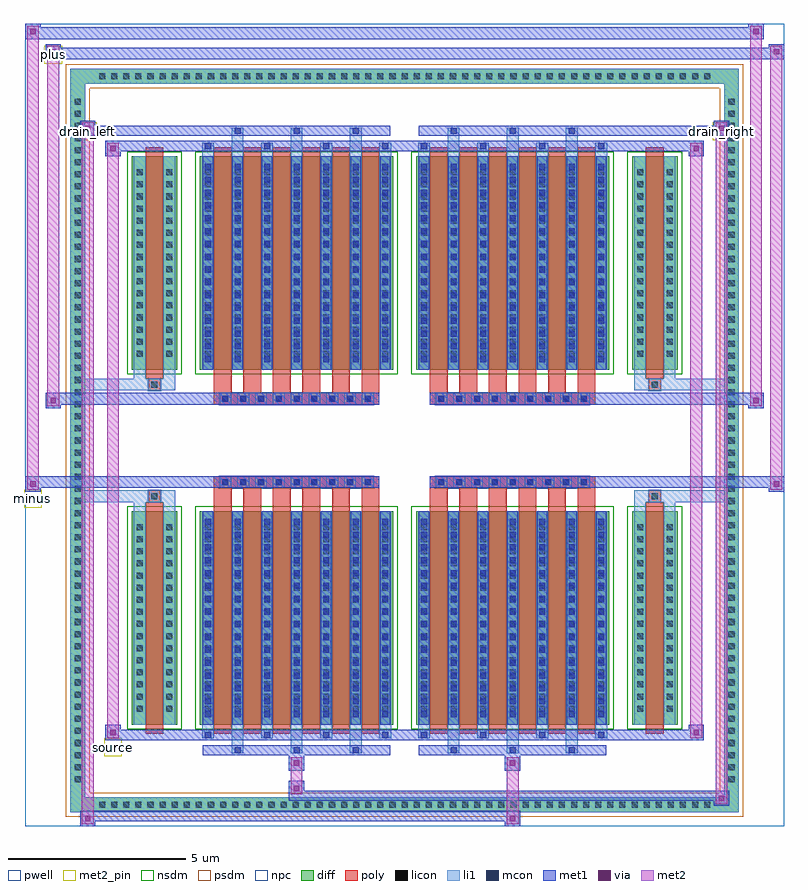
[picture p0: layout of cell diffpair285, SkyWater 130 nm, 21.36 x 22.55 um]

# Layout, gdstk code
import gdstk
lib = gdstk.Library(unit=1e-6, precision=5e-09)
def R(c, l, rs):  # rectangles x0, y0, x1, y1
    for r in rs: c.add(gdstk.rectangle(r[:2], r[2:], *l))
def A(c, l, x, y, w, h, nx, ny, dx, dy):  # array of equal rectangles
    R(c, l, [(x+i*dx, y+j*dy, x+i*dx+w, y+j*dy+h) for i in range(nx) for j in range(ny)])
def P(c, l, *ps):  # polygons
    for p in ps: c.add(gdstk.Polygon(p, *l))
pwell = (64, 44)
diff = (65, 20)
poly = (66, 20)
licon = (66, 44)
li1 = (67, 20)
mcon = (67, 44)
met1 = (68, 20)
via = (68, 44)
met2_pin = (69, 16)
met2 = (69, 20)
nsdm = (93, 44)
psdm = (94, 20)
npc = (95, 20)

diffpair285 = lib.new_cell('diffpair285')
R(diffpair285, pwell, [(-10.66,-10.84,10.66,11.71), (-7.98,-9.03,-0.01,-0.805), (0.01,-9.03,7.98,-0.805), (-7.98,0.805,-0.01,9.03), (0.01,0.805,7.98,9.03)])
A(diffpair285, diff, -8.705, -10.44, 0.41, 0.41, 51, 2, 0.34, 20.47)
A(diffpair285, diff, -9.39, -9.725, 0.41, 0.41, 1, 57, 0, 0.34)
A(diffpair285, diff, 8.98, -9.725, 0.41, 0.41, 1, 57, 0, 0.34)
R(diffpair285, diff, [(-8.705,-10.44,8.705,-10.03), (-9.39,-9.725,-8.98,9.725), (8.98,-9.725,9.39,9.725), (-7.67,-7.985,-6.39,-1.985), (-5.75,-7.985,-0.32,-1.985), (0.32,-7.985,5.75,-1.985), (6.39,-7.985,7.67,-1.985), (-7.67,1.985,-6.39,7.985), (-5.75,1.985,-0.32,7.985), (0.32,1.985,5.75,7.985), (6.39,1.985,7.67,7.985), (-8.705,10.03,8.705,10.44)])
P(diffpair285, diff, [(9.39,10.44),(-9.39,10.44),(-9.39,-10.03),(-8.98,-10.03),(-8.98,10.03),(8.98,10.03),(8.98,-10.03),(-8.98,-10.03),(-9.39,-10.03),(-9.39,-10.44),(9.39,-10.44)])
A(diffpair285, poly, -5.36, -8.235, 0.5, 6.5, 6, 2, 0.83, 9.97)
A(diffpair285, poly, 0.71, -8.235, 0.5, 6.5, 6, 2, 0.83, 9.97)
A(diffpair285, poly, -5.36, -1.735, 0.5, 0.4, 6, 2, 0.83, 3.07)
A(diffpair285, poly, 0.71, -1.735, 0.5, 0.4, 6, 2, 0.83, 3.07)
A(diffpair285, poly, -5.2, -1.335, 0.33, 0.33, 9, 2, 0.5, 2.34)
A(diffpair285, poly, 0.87, -1.335, 0.33, 0.33, 9, 2, 0.5, 2.34)
R(diffpair285, poly, [(-7.28,-8.235,-6.78,-1.735), (6.78,-8.235,7.28,-1.735), (-7.195,-1.735,-6.865,-1.405), (-7.195,-1.735,-6.865,-1.405), (6.865,-1.735,7.195,-1.405), (6.865,-1.735,7.195,-1.405), (-5.36,-1.335,-0.71,-1.005), (0.71,-1.335,5.36,-1.005), (-5.36,1.005,-0.71,1.335), (0.71,1.005,5.36,1.335), (-7.195,1.405,-6.865,1.735), (-7.195,1.405,-6.865,1.735), (6.865,1.405,7.195,1.735), (6.865,1.405,7.195,1.735), (-7.28,1.735,-6.78,8.235), (6.78,1.735,7.28,8.235)])
A(diffpair285, licon, -8.585, -10.32, 0.17, 0.17, 51, 2, 0.34, 20.47)
A(diffpair285, licon, -9.27, -9.605, 0.17, 0.17, 1, 57, 0, 0.34)
A(diffpair285, licon, 9.1, -9.605, 0.17, 0.17, 1, 57, 0, 0.34)
A(diffpair285, licon, -7.53, -7.62, 0.17, 0.17, 1, 16, 0, 0.34)
A(diffpair285, licon, -6.7, -7.62, 0.17, 0.17, 1, 16, 0, 0.34)
A(diffpair285, licon, -5.61, -7.62, 0.17, 0.17, 7, 16, 0.83, 0.34)
A(diffpair285, licon, 0.46, -7.62, 0.17, 0.17, 7, 16, 0.83, 0.34)
A(diffpair285, licon, 6.53, -7.62, 0.17, 0.17, 1, 16, 0, 0.34)
A(diffpair285, licon, 7.36, -7.62, 0.17, 0.17, 1, 16, 0, 0.34)
A(diffpair285, licon, -5.12, -1.255, 0.17, 0.17, 9, 2, 0.5, 2.34)
A(diffpair285, licon, 0.95, -1.255, 0.17, 0.17, 9, 2, 0.5, 2.34)
A(diffpair285, licon, -7.53, 2.35, 0.17, 0.17, 1, 16, 0, 0.34)
A(diffpair285, licon, -6.7, 2.35, 0.17, 0.17, 1, 16, 0, 0.34)
A(diffpair285, licon, -5.61, 2.35, 0.17, 0.17, 7, 16, 0.83, 0.34)
A(diffpair285, licon, 0.46, 2.35, 0.17, 0.17, 7, 16, 0.83, 0.34)
A(diffpair285, licon, 6.53, 2.35, 0.17, 0.17, 1, 16, 0, 0.34)
A(diffpair285, licon, 7.36, 2.35, 0.17, 0.17, 1, 16, 0, 0.34)
R(diffpair285, licon, [(-7.115,-1.655,-6.945,-1.485), (6.945,-1.655,7.115,-1.485), (-7.115,1.485,-6.945,1.655), (6.945,1.485,7.115,1.655)])
A(diffpair285, li1, -8.665, -10.4, 0.33, 0.33, 51, 2, 0.34, 20.47)
A(diffpair285, li1, -9.35, -9.685, 0.33, 0.33, 1, 57, 0, 0.34)
A(diffpair285, li1, 9.02, -9.685, 0.33, 0.33, 1, 57, 0, 0.34)
A(diffpair285, li1, -4.86, -8.79, 0.33, 0.805, 3, 2, 1.66, 16.775)
A(diffpair285, li1, -4.78, -8.79, 0.17, 0.17, 3, 2, 1.66, 17.41)
A(diffpair285, li1, 1.21, -8.79, 0.33, 0.805, 3, 2, 1.66, 16.775)
A(diffpair285, li1, 1.29, -8.79, 0.17, 0.17, 3, 2, 1.66, 17.41)
A(diffpair285, li1, -5.69, -8.36, 0.33, 0.375, 4, 2, 1.66, 16.345)
A(diffpair285, li1, -5.61, -8.36, 0.17, 0.17, 4, 2, 1.66, 16.55)
A(diffpair285, li1, 0.38, -8.36, 0.33, 0.375, 4, 2, 1.66, 16.345)
A(diffpair285, li1, 0.46, -8.36, 0.17, 0.17, 4, 2, 1.66, 16.55)
A(diffpair285, li1, -5.69, -7.985, 0.33, 6, 7, 2, 0.83, 9.97)
A(diffpair285, li1, 0.38, -7.985, 0.33, 6, 7, 2, 0.83, 9.97)
A(diffpair285, li1, -5.61, -7.77, 0.17, 0.17, 7, 16, 0.83, 0.36)
A(diffpair285, li1, -5.61, -7.77, 0.17, 5.57, 7, 2, 0.83, 9.97)
A(diffpair285, li1, 0.46, -7.77, 0.17, 0.17, 7, 16, 0.83, 0.36)
A(diffpair285, li1, 0.46, -7.77, 0.17, 5.57, 7, 2, 0.83, 9.97)
A(diffpair285, li1, -7.61, -7.7, 0.33, 0.33, 1, 16, 0, 0.34)
A(diffpair285, li1, -6.78, -7.7, 0.33, 0.33, 1, 16, 0, 0.34)
A(diffpair285, li1, -5.69, -7.7, 0.33, 0.33, 7, 16, 0.83, 0.34)
A(diffpair285, li1, 0.38, -7.7, 0.33, 0.33, 7, 16, 0.83, 0.34)
A(diffpair285, li1, 6.45, -7.7, 0.33, 0.33, 1, 16, 0, 0.34)
A(diffpair285, li1, 7.28, -7.7, 0.33, 0.33, 1, 16, 0, 0.34)
A(diffpair285, li1, -5.2, -1.335, 0.33, 0.33, 9, 2, 0.5, 2.34)
A(diffpair285, li1, 0.87, -1.335, 0.33, 0.33, 9, 2, 0.5, 2.34)
A(diffpair285, li1, -5.61, 2.2, 0.17, 0.17, 7, 16, 0.83, 0.36)
A(diffpair285, li1, 0.46, 2.2, 0.17, 0.17, 7, 16, 0.83, 0.36)
A(diffpair285, li1, -7.61, 2.27, 0.33, 0.33, 1, 16, 0, 0.34)
A(diffpair285, li1, -6.78, 2.27, 0.33, 0.33, 1, 16, 0, 0.34)
A(diffpair285, li1, -5.69, 2.27, 0.33, 0.33, 7, 16, 0.83, 0.34)
A(diffpair285, li1, 0.38, 2.27, 0.33, 0.33, 7, 16, 0.83, 0.34)
A(diffpair285, li1, 6.45, 2.27, 0.33, 0.33, 1, 16, 0, 0.34)
A(diffpair285, li1, 7.28, 2.27, 0.33, 0.33, 1, 16, 0, 0.34)
R(diffpair285, li1, [(-9.39,-10.44,-8.98,-10.03), (-9.39,-10.44,-8.98,-10.03), (-8.98,-10.44,8.98,-10.03), (8.98,-10.44,9.39,-10.03), (8.98,-10.44,9.39,-10.03), (-9.39,-10.03,-8.98,10.03), (8.98,-10.03,9.39,10.03), (-7.61,-7.985,-7.28,-1.985), (-6.78,-7.985,-6.45,-1.985), (6.45,-7.985,6.78,-1.985), (7.28,-7.985,7.61,-1.985), (-7.61,-1.985,-7.28,-1.405), (-6.78,-1.985,-6.45,-1.405), (6.45,-1.985,6.78,-1.405), (7.28,-1.985,7.61,-1.405), (-9.39,-1.735,-7.195,-1.405), (-7.61,-1.735,-7.195,-1.405), (-7.195,-1.735,-6.865,-1.405), (-6.865,-1.735,-6.45,-1.405), (6.45,-1.735,6.865,-1.405), (6.865,-1.735,7.195,-1.405), (6.865,-1.735,9.39,-1.405), (7.195,-1.735,7.61,-1.405), (-9.39,1.405,-7.195,1.735), (-7.61,1.405,-7.195,1.735), (-7.61,1.405,-7.28,1.985), (-7.195,1.405,-6.865,1.735), (-6.865,1.405,-6.45,1.735), (-6.78,1.405,-6.45,1.985), (6.45,1.405,6.865,1.735), (6.45,1.405,6.78,1.985), (6.865,1.405,7.195,1.735), (6.865,1.405,9.39,1.735), (7.195,1.405,7.61,1.735), (7.28,1.405,7.61,1.985), (-7.61,1.985,-7.28,7.985), (-6.78,1.985,-6.45,7.985), (6.45,1.985,6.78,7.985), (7.28,1.985,7.61,7.985), (-9.39,10.03,-8.98,10.44), (-9.39,10.03,-8.98,10.44), (-8.98,10.03,8.98,10.44), (8.98,10.03,9.39,10.44), (8.98,10.03,9.39,10.44)])
A(diffpair285, mcon, -4.78, -8.79, 0.17, 0.17, 3, 2, 1.66, 17.41)
A(diffpair285, mcon, 1.29, -8.79, 0.17, 0.17, 3, 2, 1.66, 17.41)
A(diffpair285, mcon, -5.61, -8.36, 0.17, 0.17, 4, 2, 1.66, 16.55)
A(diffpair285, mcon, 0.46, -8.36, 0.17, 0.17, 4, 2, 1.66, 16.55)
A(diffpair285, mcon, -5.61, -7.77, 0.17, 0.17, 7, 16, 0.83, 0.36)
A(diffpair285, mcon, 0.46, -7.77, 0.17, 0.17, 7, 16, 0.83, 0.36)
A(diffpair285, mcon, -5.12, -1.255, 0.17, 0.17, 9, 2, 0.5, 2.34)
A(diffpair285, mcon, 0.95, -1.255, 0.17, 0.17, 9, 2, 0.5, 2.34)
A(diffpair285, mcon, -5.61, 2.2, 0.17, 0.17, 7, 16, 0.83, 0.36)
A(diffpair285, mcon, 0.46, 2.2, 0.17, 0.17, 7, 16, 0.83, 0.36)
A(diffpair285, met1, -4.84, -8.85, 0.29, 0.29, 3, 2, 1.66, 17.41)
A(diffpair285, met1, 1.23, -8.85, 0.29, 0.29, 3, 2, 1.66, 17.41)
A(diffpair285, met1, -5.67, -8.42, 0.29, 0.29, 4, 2, 1.66, 16.55)
A(diffpair285, met1, 0.4, -8.42, 0.29, 0.29, 4, 2, 1.66, 16.55)
A(diffpair285, met1, -5.67, -7.985, 0.29, 6, 7, 2, 0.83, 9.97)
A(diffpair285, met1, 0.4, -7.985, 0.29, 6, 7, 2, 0.83, 9.97)
A(diffpair285, met1, -5.67, -7.83, 0.29, 0.29, 7, 16, 0.83, 0.36)
A(diffpair285, met1, 0.4, -7.83, 0.29, 0.29, 7, 16, 0.83, 0.36)
A(diffpair285, met1, -5.18, -1.315, 0.29, 0.29, 9, 2, 0.5, 2.34)
A(diffpair285, met1, 0.89, -1.315, 0.29, 0.29, 9, 2, 0.5, 2.34)
A(diffpair285, met1, -5.67, 2.14, 0.29, 0.29, 7, 16, 0.83, 0.36)
A(diffpair285, met1, 0.4, 2.14, 0.29, 0.29, 7, 16, 0.83, 0.36)
R(diffpair285, met1, [(-9.12,-10.84,-8.69,-10.41), (2.82,-10.84,3.25,-10.41), (-9.12,-10.7,3.25,-10.41), (8.69,-10.27,9.12,-9.84), (-3.25,-10.13,9.12,-9.84), (-3.25,-9.99,-2.82,-9.56), (-3.25,-9.28,-2.82,-8.85), (2.82,-9.28,3.25,-8.85), (-5.67,-8.85,-0.4,-8.56), (0.4,-8.85,5.67,-8.56), (-8.41,-8.42,-7.98,-7.99), (-8.41,-8.42,-5.67,-8.13), (-5.67,-8.42,-0.4,-8.13), (-0.4,-8.42,0.4,-8.13), (0.4,-8.42,5.67,-8.13), (5.67,-8.42,8.41,-8.13), (7.98,-8.42,8.41,-7.99), (-10.66,-1.435,-10.23,-1.005), (10.23,-1.435,10.66,-1.005), (-10.66,-1.335,-0.71,-1.005), (-5.36,-1.335,-0.71,-1.005), (0.71,-1.335,5.36,-1.005), (0.71,-1.335,10.66,-1.005), (-10.09,0.905,-9.66,1.335), (9.66,0.905,10.09,1.335), (-10.09,1.005,-5.36,1.335), (-5.36,1.005,-0.71,1.335), (0.71,1.005,5.36,1.335), (5.36,1.005,10.09,1.335), (-8.41,7.99,-7.98,8.42), (7.98,7.99,8.41,8.42), (-8.41,8.13,-5.67,8.42), (-5.67,8.13,-0.4,8.42), (-0.4,8.13,0.4,8.42), (0.4,8.13,5.67,8.42), (5.67,8.13,8.41,8.42), (-9.12,8.56,-8.69,8.99), (-9.12,8.56,-5.67,8.85), (-5.67,8.56,-0.4,8.85), (0.4,8.56,5.67,8.85), (5.67,8.56,9.12,8.85), (8.69,8.56,9.12,8.99), (-10.09,10.71,-9.66,11.14), (-10.09,10.71,-7.98,11.04), (-7.98,10.71,7.98,11.04), (7.98,10.71,10.66,11.04), (10.23,10.71,10.66,11.14), (-10.66,11.28,-10.23,11.71), (-10.66,11.28,-7.98,11.61), (-7.98,11.28,7.98,11.61), (7.98,11.28,10.09,11.61), (9.66,11.28,10.09,11.71)])
R(diffpair285, via, [(-8.98,-10.7,-8.83,-10.55), (2.96,-10.7,3.11,-10.55), (8.83,-10.13,8.98,-9.98), (-3.11,-9.85,-2.96,-9.7), (-3.11,-9.14,-2.96,-8.99), (2.96,-9.14,3.11,-8.99), (-8.27,-8.28,-8.12,-8.13), (8.12,-8.28,8.27,-8.13), (-10.52,-1.295,-10.37,-1.145), (10.37,-1.295,10.52,-1.145), (-9.95,1.045,-9.8,1.195), (9.8,1.045,9.95,1.195), (-8.27,8.13,-8.12,8.28), (8.12,8.13,8.27,8.28), (-8.98,8.7,-8.83,8.85), (8.83,8.7,8.98,8.85), (-9.95,10.85,-9.8,11), (10.37,10.85,10.52,11), (-10.52,11.42,-10.37,11.57), (9.8,11.42,9.95,11.57)])
R(diffpair285, met2_pin, [(-8.445,-8.87,-7.945,-8.37), (-10.695,-1.885,-10.195,-1.385), (-9.155,8.44,-8.655,8.94), (8.655,8.44,9.155,8.94), (-10.125,10.59,-9.625,11.09)])
R(diffpair285, met2, [(-9.07,-10.79,-8.74,-10.46), (-9.07,-10.79,-8.74,8.94), (2.87,-10.79,3.2,-10.46), (2.87,-10.46,3.2,-9.23), (8.74,-10.22,9.07,-9.89), (8.74,-10.22,9.07,8.94), (-3.2,-9.94,-2.87,-9.61), (-3.2,-9.61,-2.87,-9.23), (-3.2,-9.23,-2.87,-8.9), (2.87,-9.23,3.2,-8.9), (-8.36,-8.37,-8.03,-8.04), (-8.36,-8.37,-8.03,8.37), (8.03,-8.37,8.36,-8.04), (8.03,-8.37,8.36,8.37), (-10.61,-1.385,-10.28,-1.055), (-10.61,-1.385,-10.28,11.66), (10.28,-1.385,10.61,-1.055), (10.28,-1.385,10.61,11.09), (-10.04,0.955,-9.71,1.285), (-10.04,0.955,-9.71,11.09), (9.71,0.955,10.04,1.285), (9.71,0.955,10.04,11.66), (-8.36,8.04,-8.03,8.37), (8.03,8.04,8.36,8.37), (-9.07,8.61,-8.74,8.94), (8.74,8.61,9.07,8.94), (-10.04,10.76,-9.71,11.09), (10.28,10.76,10.61,11.09), (-10.61,11.33,-10.28,11.66), (9.71,11.33,10.04,11.66)])
P(diffpair285, met2, [(10.61,-1.385),(10.61,-1.385),(10.61,-1.055),(10.61,-1.055)],
  [(10.61,10.76),(10.61,10.76),(10.61,11.09),(10.61,11.09)],
  [(-10.28,-1.385),(-10.28,-1.385),(-10.28,-1.055),(-10.28,-1.055)],
  [(-10.28,11.33),(-10.28,11.33),(-10.28,11.66),(-10.28,11.66)],
  [(10.04,0.955),(10.04,0.955),(10.04,1.285),(10.04,1.285)],
  [(10.04,11.33),(10.04,11.33),(10.04,11.66),(10.04,11.66)],
  [(-9.71,0.955),(-9.71,0.955),(-9.71,1.285),(-9.71,1.285)],
  [(-9.71,10.76),(-9.71,10.76),(-9.71,11.09),(-9.71,11.09)],
  [(-8.74,-10.79),(-8.74,-10.79),(-8.74,-10.46),(-8.74,-10.46)],
  [(-8.74,8.61),(-8.74,8.61),(-8.74,8.94),(-8.74,8.94)],
  [(9.07,-10.22),(9.07,-10.22),(9.07,-9.89),(9.07,-9.89)],
  [(9.07,8.61),(9.07,8.61),(9.07,8.94),(9.07,8.94)],
  [(-8.03,-8.37),(-8.03,-8.37),(-8.03,-8.04),(-8.03,-8.04)],
  [(-8.03,8.04),(-8.03,8.04),(-8.03,8.37),(-8.03,8.37)],
  [(8.36,-8.37),(8.36,-8.37),(8.36,-8.04),(8.36,-8.04)],
  [(8.36,8.04),(8.36,8.04),(8.36,8.37),(8.36,8.37)])
R(diffpair285, nsdm, [(-7.8,-8.115,-6.26,-1.855), (-5.88,-8.115,-0.19,-1.855), (0.19,-8.115,5.88,-1.855), (6.26,-8.115,7.8,-1.855), (-7.8,1.855,-6.26,8.115), (-5.88,1.855,-0.19,8.115), (0.19,1.855,5.88,8.115), (6.26,1.855,7.8,8.115)])
P(diffpair285, psdm, [(9.52,10.57),(-9.52,10.57),(-9.52,-9.9),(-8.85,-9.9),(-8.85,9.9),(8.85,9.9),(8.85,-9.9),(-8.85,-9.9),(-9.52,-9.9),(-9.52,-10.57),(9.52,-10.57)])
A(diffpair285, npc, -5.22, -1.355, 0.37, 0.37, 9, 2, 0.5, 2.34)
A(diffpair285, npc, 0.85, -1.355, 0.37, 0.37, 9, 2, 0.5, 2.34)
R(diffpair285, npc, [(-7.215,-1.755,-6.845,-1.385), (6.845,-1.755,7.215,-1.385), (-5.22,-1.355,-4.35,-0.985), (-5.22,-1.355,-4.35,-0.985), (-4.72,-1.355,-3.85,-0.985), (-4.72,-1.355,-3.85,-0.985), (-4.22,-1.355,-3.35,-0.985), (-4.22,-1.355,-3.35,-0.985), (-3.72,-1.355,-2.85,-0.985), (-3.72,-1.355,-2.85,-0.985), (-3.22,-1.355,-2.35,-0.985), (-3.22,-1.355,-2.35,-0.985), (-2.72,-1.355,-1.85,-0.985), (-2.72,-1.355,-1.85,-0.985), (-2.22,-1.355,-1.35,-0.985), (-2.22,-1.355,-1.35,-0.985), (-1.72,-1.355,-0.85,-0.985), (-1.72,-1.355,-0.85,-0.985), (0.85,-1.355,1.72,-0.985), (0.85,-1.355,1.72,-0.985), (1.35,-1.355,2.22,-0.985), (1.35,-1.355,2.22,-0.985), (1.85,-1.355,2.72,-0.985), (1.85,-1.355,2.72,-0.985), (2.35,-1.355,3.22,-0.985), (2.35,-1.355,3.22,-0.985), (2.85,-1.355,3.72,-0.985), (2.85,-1.355,3.72,-0.985), (3.35,-1.355,4.22,-0.985), (3.35,-1.355,4.22,-0.985), (3.85,-1.355,4.72,-0.985), (3.85,-1.355,4.72,-0.985), (4.35,-1.355,5.22,-0.985), (4.35,-1.355,5.22,-0.985), (-5.22,0.985,-4.35,1.355), (-5.22,0.985,-4.35,1.355), (-4.72,0.985,-3.85,1.355), (-4.72,0.985,-3.85,1.355), (-4.22,0.985,-3.35,1.355), (-4.22,0.985,-3.35,1.355), (-3.72,0.985,-2.85,1.355), (-3.72,0.985,-2.85,1.355), (-3.22,0.985,-2.35,1.355), (-3.22,0.985,-2.35,1.355), (-2.72,0.985,-1.85,1.355), (-2.72,0.985,-1.85,1.355), (-2.22,0.985,-1.35,1.355), (-2.22,0.985,-1.35,1.355), (-1.72,0.985,-0.85,1.355), (-1.72,0.985,-0.85,1.355), (0.85,0.985,1.72,1.355), (0.85,0.985,1.72,1.355), (1.35,0.985,2.22,1.355), (1.35,0.985,2.22,1.355), (1.85,0.985,2.72,1.355), (1.85,0.985,2.72,1.355), (2.35,0.985,3.22,1.355), (2.35,0.985,3.22,1.355), (2.85,0.985,3.72,1.355), (2.85,0.985,3.72,1.355), (3.35,0.985,4.22,1.355), (3.35,0.985,4.22,1.355), (3.85,0.985,4.72,1.355), (3.85,0.985,4.72,1.355), (4.35,0.985,5.22,1.355), (4.35,0.985,5.22,1.355), (-7.215,1.385,-6.845,1.755), (6.845,1.385,7.215,1.755)])
diffpair285.add(gdstk.Label('minus', (-10.445,-1.635), layer=69, texttype=5))
diffpair285.add(gdstk.Label('drain_right', (8.905,8.69), layer=69, texttype=5))
diffpair285.add(gdstk.Label('drain_left', (-8.905,8.69), layer=69, texttype=5))
diffpair285.add(gdstk.Label('source', (-8.195,-8.62), layer=69, texttype=5))
diffpair285.add(gdstk.Label('plus', (-9.875,10.84), layer=69, texttype=5))

lib.write_gds('diffpair285.gds')
